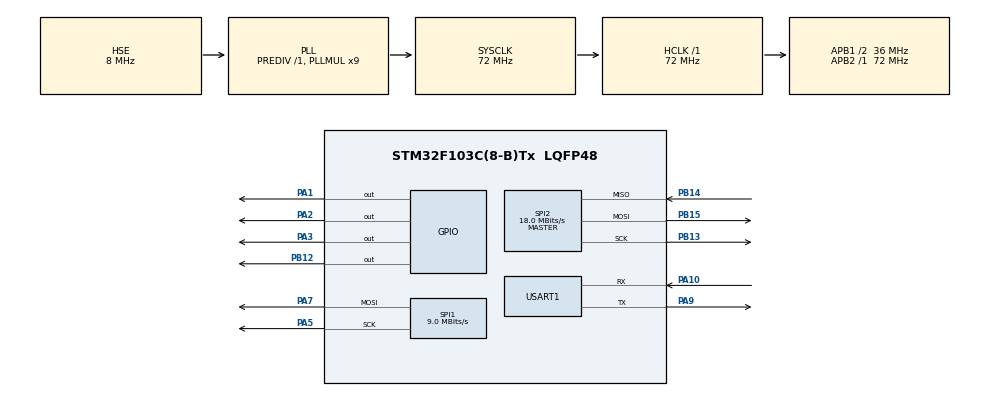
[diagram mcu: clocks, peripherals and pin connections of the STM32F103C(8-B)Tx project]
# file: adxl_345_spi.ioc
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Dma.Request0=SPI1_TX
Dma.Request1=SPI2_RX
Dma.Request2=SPI2_TX
Dma.SPI1_TX.0.Direction=DMA_MEMORY_TO_PERIPH
Dma.SPI1_TX.0.Instance=DMA1_Channel3
Dma.SPI1_TX.0.MemDataAlignment=DMA_MDATAALIGN_BYTE
Dma.SPI1_TX.0.MemInc=DMA_MINC_ENABLE
Dma.SPI1_TX.0.Mode=DMA_NORMAL
Dma.SPI1_TX.0.PeriphDataAlignment=DMA_PDATAALIGN_BYTE
Dma.SPI1_TX.0.PeriphInc=DMA_PINC_DISABLE
Dma.SPI1_TX.0.Priority=DMA_PRIORITY_LOW
Dma.SPI2_RX.1.Direction=DMA_PERIPH_TO_MEMORY
Dma.SPI2_RX.1.Instance=DMA1_Channel4
Dma.SPI2_RX.1.MemDataAlignment=DMA_MDATAALIGN_BYTE
Dma.SPI2_RX.1.MemInc=DMA_MINC_ENABLE
Dma.SPI2_RX.1.Mode=DMA_NORMAL
Dma.SPI2_RX.1.PeriphDataAlignment=DMA_PDATAALIGN_BYTE
Dma.SPI2_RX.1.PeriphInc=DMA_PINC_DISABLE
Dma.SPI2_RX.1.Priority=DMA_PRIORITY_LOW
Dma.SPI2_TX.2.Direction=DMA_MEMORY_TO_PERIPH
Dma.SPI2_TX.2.Instance=DMA1_Channel5
Dma.SPI2_TX.2.MemDataAlignment=DMA_MDATAALIGN_BYTE
Dma.SPI2_TX.2.MemInc=DMA_MINC_ENABLE
Dma.SPI2_TX.2.Mode=DMA_NORMAL
Dma.SPI2_TX.2.PeriphDataAlignment=DMA_PDATAALIGN_BYTE
Dma.SPI2_TX.2.PeriphInc=DMA_PINC_DISABLE
Dma.SPI2_TX.2.Priority=DMA_PRIORITY_LOW
Mcu.Family=STM32F1
Mcu.Name=STM32F103C(8-B)Tx
Mcu.Package=LQFP48
NVIC.DMA1_Channel3_IRQn=true\:0\:0\:false\:false\:true\:false\:true\:true
NVIC.DMA1_Channel4_IRQn=true\:0\:0\:false\:false\:true\:false\:true\:true
NVIC.DMA1_Channel5_IRQn=true\:0\:0\:false\:false\:true\:false\:true\:true
NVIC.PriorityGroup=NVIC_PRIORITYGROUP_4
NVIC.SPI1_IRQn=true\:0\:0\:false\:false\:true\:true\:true\:true
NVIC.SPI2_IRQn=true\:0\:0\:false\:false\:true\:true\:true\:true
NVIC.USART1_IRQn=true\:0\:0\:false\:false\:true\:true\:true\:true
PA1.Signal=GPIO_Output
PA10.Mode=Asynchronous
PA10.Signal=USART1_RX
PA13.Mode=Serial_Wire
PA13.Signal=SYS_JTMS-SWDIO
PA14.Mode=Serial_Wire
PA14.Signal=SYS_JTCK-SWCLK
PA2.Signal=GPIO_Output
PA3.Signal=GPIO_Output
PA5.Mode=TX_Only_Simplex_Unidirect_Master
PA5.Signal=SPI1_SCK
PA7.Mode=TX_Only_Simplex_Unidirect_Master
PA7.Signal=SPI1_MOSI
PA9.Mode=Asynchronous
PA9.Signal=USART1_TX
PB12.Signal=GPIO_Output
PB13.Mode=Full_Duplex_Master
PB13.Signal=SPI2_SCK
PB14.Mode=Full_Duplex_Master
PB14.Signal=SPI2_MISO
PB15.Mode=Full_Duplex_Master
PB15.Signal=SPI2_MOSI
PD0-OSC_IN.Mode=HSE-External-Oscillator
PD0-OSC_IN.Signal=RCC_OSC_IN
PD1-OSC_OUT.Mode=HSE-External-Oscillator
PD1-OSC_OUT.Signal=RCC_OSC_OUT
ProjectManager.HeapSize=0x300
ProjectManager.StackSize=0x200
ProjectManager.TargetToolchain=STM32CubeIDE
RCC.AHBFreq_Value=72000000
RCC.APB1CLKDivider=RCC_HCLK_DIV2
RCC.APB1Freq_Value=36000000
RCC.APB1TimFreq_Value=72000000
RCC.APB2Freq_Value=72000000
RCC.APB2TimFreq_Value=72000000
RCC.HCLKFreq_Value=72000000
RCC.PLLMUL=RCC_PLL_MUL9
RCC.PLLSourceVirtual=RCC_PLLSOURCE_HSE
RCC.SYSCLKFreq_VALUE=72000000
RCC.SYSCLKSource=RCC_SYSCLKSOURCE_PLLCLK
RCC.USBFreq_Value=72000000
SPI1.BaudRatePrescaler=SPI_BAUDRATEPRESCALER_8
SPI1.CLKPhase=SPI_PHASE_2EDGE
SPI1.CLKPolarity=SPI_POLARITY_HIGH
SPI1.CalculateBaudRate=9.0 MBits/s
SPI1.Direction=SPI_DIRECTION_2LINES
SPI1.Mode=SPI_MODE_MASTER
SPI1.VirtualType=VM_MASTER
SPI2.CLKPhase=SPI_PHASE_2EDGE
SPI2.CLKPolarity=SPI_POLARITY_HIGH
SPI2.CalculateBaudRate=18.0 MBits/s
SPI2.Direction=SPI_DIRECTION_2LINES
SPI2.Mode=SPI_MODE_MASTER
SPI2.VirtualType=VM_MASTER
USART1.VirtualMode=VM_ASYNC
board=custom

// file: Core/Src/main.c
/* USER CODE BEGIN Header */
/**
 *  пример на HAL/C, который:

    инициализирует ADXL345 в full-resolution ±16g (как у тебя),

    настраивает SPI2 и CS (PB12),

    читает сырой int16_t по трем осям,

    переводит в g и в м/с²,

    отслеживает и держит максимальные пики,

    содержит простую логику детекции удара (порог + защита по времени).
 *
 *
 * Пояснения и практические советы

    Преобразование в g и m/s²

        В full-res используем g = raw * 0.0039.

        m/s² = g * 9.80665.
        Это приближённое значение, но для ударов/пиков достаточно точно.

    Выбор порога IMPACT_THRESHOLD_G

        6g — просто пример. Подбери эмпирически: сначала понаблюдай обычное движение (ходьба/стряхивание) и
        поставь порог выше шума, но ниже реального удара.

        Можно сделать адаптивный порог: усреднять фон и считать отклонение.

    Защита от ложных срабатываний

        Я добавил IMPACT_DEBOUNCE_MS — после удара игнорируем новые в течение N миллисекунд.

        Альтернатива — требовать, чтобы значение превысило порог N последовательных выборок.

    Tap/Activity детекция аппаратно

        ADXL345 умеет аппаратно детектировать single/double tap и activity/inactivity, и выдавать прерывание на INT1/INT2. Это точнее и не нагружает CPU. Если нужно — дам пример настройки регистров THRESH_TAP, DUR, INT_ENABLE и обработку внешнего прерывания.

    Частота выборки (BW_RATE)

        Для ударов полезно повысить частоту (чем выше — тем короче импульс можно захватить). Но это увеличивает поток данных. ADXL345 может давать высокие частоты (см. даташит). Подбери значение, совместимое с твоим SAMPLE_PERIOD_MS.

    Проверка направлений и смещения

        Прибор может иметь смещение (offset). Для точных измерений сделай нулевую калибровку: при неподвижной установке вычисли среднее по нескольким секундам и вычти из измерений.
 *
  ******************************************************************************
  * @file           : main.c
  * @brief          : Main program body
  ******************************************************************************
  * @attention
  *
  * Copyright (c) 2025 STMicroelectronics.
  * All rights reserved.
  *
  * This software is licensed under terms that can be found in the LICENSE file
  * in the root directory of this software component.
  * If no LICENSE file comes with this software, it is provided AS-IS.
  *
  ******************************************************************************
  */
/* USER CODE END Header */
#include "main.h"

/* USER CODE BEGIN Includes */
#include <stdint.h>
#include <stdio.h>
#include <stdlib.h>
#include <math.h>
#include <string.h>
#include <stdbool.h>

#include "st7789.h"
#include "fonts.h"
/* USER CODE END Includes */

SPI_HandleTypeDef hspi1;
SPI_HandleTypeDef hspi2;
DMA_HandleTypeDef hdma_spi1_tx;
DMA_HandleTypeDef hdma_spi2_rx;
DMA_HandleTypeDef hdma_spi2_tx;

UART_HandleTypeDef huart1;

/* USER CODE BEGIN PV */
#define CS_Pin GPIO_PIN_12
#define CS_Port GPIOB
/* USER CODE END PV */

void SystemClock_Config(void);
static void MX_GPIO_Init(void);
static void MX_DMA_Init(void);
static void MX_SPI1_Init(void);
static void MX_SPI2_Init(void);
static void MX_USART1_UART_Init(void);

/* USER CODE BEGIN 0 */
// Функции работы с CS
void ADXL345_CS_Select()   { HAL_GPIO_WritePin(CS_Port, CS_Pin, GPIO_PIN_RESET); }
void ADXL345_CS_Deselect() { HAL_GPIO_WritePin(CS_Port, CS_Pin, GPIO_PIN_SET); }

// Функции SPI записи/чтения
void ADXL345_WriteReg(uint8_t reg, uint8_t data) {
    uint8_t buf[2] = {reg & 0x3F, data};  // MSB=0 для записи
    ADXL345_CS_Select();
    HAL_SPI_Transmit(&hspi2, buf, 2, HAL_MAX_DELAY);
    ADXL345_CS_Deselect();
}

uint8_t ADXL345_ReadReg(uint8_t reg) {
    uint8_t tx = 0x80 | (reg & 0x3F); // MSB=1 для чтения
    uint8_t rx = 0;
    ADXL345_CS_Select();
    HAL_SPI_TransmitReceive(&hspi2, &tx, &rx, 1, HAL_MAX_DELAY);
    ADXL345_CS_Deselect();
    return rx;
}

void ADXL345_ReadAxes(int16_t* x, int16_t* y, int16_t* z) {
    uint8_t tx[7];
    uint8_t rx[7];
    tx[0] = 0x80 | 0x40 | 0x32; // чтение многобайтно с DATAX0
    for(int i=1; i<7; i++) tx[i]=0x00;

    ADXL345_CS_Select();
    HAL_SPI_TransmitReceive(&hspi2, tx, rx, 7, HAL_MAX_DELAY);
    ADXL345_CS_Deselect();

    *x = (int16_t)((rx[2]<<8)|rx[1]);
    *y = (int16_t)((rx[4]<<8)|rx[3]);
    *z = (int16_t)((rx[6]<<8)|rx[5]);
}

// Инициализация ADXL345
/* Инициализация ADXL345 */
/* Примечание: здесь устанавливаем full resolution и диапазон ±16g (DATA_FORMAT = 0x0B),
   включаем измерения POWER_CTL = 0x08.
   При желании можно настроить частоту в регистре BW_RATE (0x2C) */
void ADXL345_Init(void) {
    HAL_Delay(10);
    ADXL345_WriteReg(0x2D, 0x00); // сброс POWER_CTL чтобы быть уверенным
    HAL_Delay(5);
    ADXL345_WriteReg(0x31, 0x0B); // DATA_FORMAT: FULL_RES=1, range=11 (±16g)
    HAL_Delay(2);
    // опционально: установить скорость выборки (BW_RATE). По умолчанию 100 Hz.
    ADXL345_WriteReg(0x2C, 0x0A); // пример: установить 100 Hz (см. datasheet для нужного значения)
    ADXL345_WriteReg(0x2D, 0x08); // POWER_CTL: Measure = 1
    HAL_Delay(5);
}

/* Константы преобразования:
   В full-resolution ADXL345 масштаб ~3.9 mg/LSB (часто приводят 0.0039 g/LSB).
   Используем коэффициент 0.0039 (g per LSB). */
#define ADXL_SCALE_G 0.0039f
#define G_TO_MS2 9.80665f

/* Параметры детектора удара */
#define IMPACT_THRESHOLD_G 6.0f     // порог в g (пример: 6g — подбери экспериментально)
#define IMPACT_DEBOUNCE_MS 200      // окно, в течение которого игнорируем новые пики (ms)
#define SAMPLE_PERIOD_MS 10          // период опроса в ms (зависит от BW_RATE)

//Получение ID устройства, должно вывести 0xE5 (проверка устройства)
uint8_t ADXL345_ReadID() {
    uint8_t tx[2] = {0x80 | 0x00, 0x00}; // запрос регистра 0x00
    uint8_t rx[2] = {0};
    ADXL345_CS_Select();
    HAL_SPI_TransmitReceive(&hspi2, tx, rx, 2, HAL_MAX_DELAY);
    ADXL345_CS_Deselect();
    return rx[1]; // второй байт = ответ
}

/* Простая структура для хранения максимумов */
typedef struct {
    float max_g_x;
    float max_g_y;
    float max_g_z;
    uint32_t last_impact_tick; // HAL_GetTick() временная метка
} PeakData;

PeakData peaks = {0};

void process_sample_and_detect(int16_t rx, int16_t ry, int16_t rz) {
	char message[255];
	char message_display[128];
	// Преобразование raw -> g -> m/s^2
    float gx = (float)rx * ADXL_SCALE_G;
    float gy = (float)ry * ADXL_SCALE_G;
    float gz = (float)rz * ADXL_SCALE_G;
    float abs_gx = fabsf(gx), abs_gy = fabsf(gy), abs_gz = fabsf(gz);
    float abs_g = sqrt(gx*gx + gy*gy + gz*gz);
    float a_ms2 = abs_g * G_TO_MS2;

    // Обновляем пики по осям (в g)
    if (abs_gx > peaks.max_g_x) peaks.max_g_x = abs_gx;
    if (abs_gy > peaks.max_g_y) peaks.max_g_y = abs_gy;
    if (abs_gz > peaks.max_g_z) peaks.max_g_z = abs_gz;

    // Простая детекция удара: если любая ось превысила порог и прошло достаточно времени —
    // регистрируем событие.
    uint32_t now = HAL_GetTick();
    if ((abs_g >= IMPACT_THRESHOLD_G) && (now - peaks.last_impact_tick > IMPACT_DEBOUNCE_MS)) {
        peaks.last_impact_tick = now;
        // Реагируем на удар: печатаем, ставим светодиод, сохраняем в память и т.д.

        sprintf(message, "! IMPACT detected at tick %lu: g=%.2fg m/s2=%.2fg\n",
               (unsigned long)now, abs_g, a_ms2);
        sprintf(message_display, "%.2f g", abs_g);
        ST7789_WriteString(20, 80, message_display, Font_16x26, GRED, BLACK);
        sprintf(message_display, "%.2fg m/s2", a_ms2);
		ST7789_WriteString(20, 120, message_display, Font_16x26, GREEN, BLACK);
        HAL_UART_Transmit(&huart1, message, strlen(message), HAL_MAX_DELAY);
    }

    // Вывод текущих величин и максимумов (пример)
//    float ax_ms2 = gx * G_TO_MS2;
//    float ay_ms2 = gy * G_TO_MS2;
//    float az_ms2 = gz * G_TO_MS2;
//    sprintf(message, "g: X=%.2f Y=%.2f Z=%.2f | m/s2: X=%.2f Y=%.2f Z=%.2f | peaks g(X/Y/Z)=%.2f/%.2f/%.2f\r\n",
//           gx, gy, gz, ax_ms2, ay_ms2, az_ms2, peaks.max_g_x, peaks.max_g_y, peaks.max_g_z);
//    HAL_UART_Transmit(&huart1, message, strlen(message), HAL_MAX_DELAY);
}
/* USER CODE END 0 */

int main(void)
{

  /* USER CODE BEGIN 1 */
  char message[255];
  /* USER CODE END 1 */

  /* MCU Configuration--------------------------------------------------------*/

  /* Reset of all peripherals, Initializes the Flash interface and the Systick. */
  HAL_Init();

  /* Configure the system clock */
  SystemClock_Config();

  /* Initialize all configured peripherals */
  MX_GPIO_Init();
  MX_DMA_Init();
  MX_SPI1_Init();
  MX_SPI2_Init();
  MX_USART1_UART_Init();
  /* USER CODE BEGIN 2 */
  ADXL345_Init();
  //init display
  ST7789_Init();
  HAL_GPIO_WritePin(GPIOA, GPIO_PIN_3, GPIO_PIN_SET);
  ST7789_Fill_Color(BLACK);

  // Быстрый тест: прочитать ID
  uint8_t id = ADXL345_ReadID();
  sprintf(message, "ADXL345 ID = 0x%02X", id);
  HAL_UART_Transmit(&huart1, message, strlen(message), HAL_MAX_DELAY);
  ST7789_WriteString(20, 20, message, Font_11x18, GBLUE, BLACK);
  /* USER CODE END 2 */

  /* Infinite loop */
  /* USER CODE BEGIN WHILE */

  int16_t rx, ry, rz;
  while (1)
  {
	  ADXL345_ReadAxes(&rx, &ry, &rz);
	  process_sample_and_detect(rx, ry, rz);
	  HAL_Delay(SAMPLE_PERIOD_MS);

    /* USER CODE END WHILE */

  }
}

void SystemClock_Config(void)
{
  RCC_OscInitTypeDef RCC_OscInitStruct = {0};
  RCC_ClkInitTypeDef RCC_ClkInitStruct = {0};

  /** Initializes the RCC Oscillators according to the specified parameters
  * in the RCC_OscInitTypeDef structure.
  */
  RCC_OscInitStruct.OscillatorType = RCC_OSCILLATORTYPE_HSE;
  RCC_OscInitStruct.HSEState = RCC_HSE_ON;
  RCC_OscInitStruct.HSEPredivValue = RCC_HSE_PREDIV_DIV1;
  RCC_OscInitStruct.HSIState = RCC_HSI_ON;
  RCC_OscInitStruct.PLL.PLLState = RCC_PLL_ON;
  RCC_OscInitStruct.PLL.PLLSource = RCC_PLLSOURCE_HSE;
  RCC_OscInitStruct.PLL.PLLMUL = RCC_PLL_MUL9;
  if (HAL_RCC_OscConfig(&RCC_OscInitStruct) != HAL_OK)
  {
    Error_Handler();
  }

  /** Initializes the CPU, AHB and APB buses clocks
  */
  RCC_ClkInitStruct.ClockType = RCC_CLOCKTYPE_HCLK|RCC_CLOCKTYPE_SYSCLK
                              |RCC_CLOCKTYPE_PCLK1|RCC_CLOCKTYPE_PCLK2;
  RCC_ClkInitStruct.SYSCLKSource = RCC_SYSCLKSOURCE_PLLCLK;
  RCC_ClkInitStruct.AHBCLKDivider = RCC_SYSCLK_DIV1;
  RCC_ClkInitStruct.APB1CLKDivider = RCC_HCLK_DIV2;
  RCC_ClkInitStruct.APB2CLKDivider = RCC_HCLK_DIV1;

  if (HAL_RCC_ClockConfig(&RCC_ClkInitStruct, FLASH_LATENCY_2) != HAL_OK)
  {
    Error_Handler();
  }
}

static void MX_SPI1_Init(void)
{

  /* SPI1 parameter configuration*/
  hspi1.Instance = SPI1;
  hspi1.Init.Mode = SPI_MODE_MASTER;
  hspi1.Init.Direction = SPI_DIRECTION_2LINES;
  hspi1.Init.DataSize = SPI_DATASIZE_8BIT;
  hspi1.Init.CLKPolarity = SPI_POLARITY_HIGH;
  hspi1.Init.CLKPhase = SPI_PHASE_2EDGE;
  hspi1.Init.NSS = SPI_NSS_SOFT;
  hspi1.Init.BaudRatePrescaler = SPI_BAUDRATEPRESCALER_8;
  hspi1.Init.FirstBit = SPI_FIRSTBIT_MSB;
  hspi1.Init.TIMode = SPI_TIMODE_DISABLE;
  hspi1.Init.CRCCalculation = SPI_CRCCALCULATION_DISABLE;
  hspi1.Init.CRCPolynomial = 10;
  if (HAL_SPI_Init(&hspi1) != HAL_OK)
  {
    Error_Handler();
  }

}

static void MX_SPI2_Init(void)
{

  /* SPI2 parameter configuration*/
  hspi2.Instance = SPI2;
  hspi2.Init.Mode = SPI_MODE_MASTER;
  hspi2.Init.Direction = SPI_DIRECTION_2LINES;
  hspi2.Init.DataSize = SPI_DATASIZE_8BIT;
  hspi2.Init.CLKPolarity = SPI_POLARITY_HIGH;
  hspi2.Init.CLKPhase = SPI_PHASE_2EDGE;
  hspi2.Init.NSS = SPI_NSS_SOFT;
  hspi2.Init.BaudRatePrescaler = SPI_BAUDRATEPRESCALER_2;
  hspi2.Init.FirstBit = SPI_FIRSTBIT_MSB;
  hspi2.Init.TIMode = SPI_TIMODE_DISABLE;
  hspi2.Init.CRCCalculation = SPI_CRCCALCULATION_DISABLE;
  hspi2.Init.CRCPolynomial = 10;
  if (HAL_SPI_Init(&hspi2) != HAL_OK)
  {
    Error_Handler();
  }

}

static void MX_USART1_UART_Init(void)
{

  huart1.Instance = USART1;
  huart1.Init.BaudRate = 115200;
  huart1.Init.WordLength = UART_WORDLENGTH_8B;
  huart1.Init.StopBits = UART_STOPBITS_1;
  huart1.Init.Parity = UART_PARITY_NONE;
  huart1.Init.Mode = UART_MODE_TX_RX;
  huart1.Init.HwFlowCtl = UART_HWCONTROL_NONE;
  huart1.Init.OverSampling = UART_OVERSAMPLING_16;
  if (HAL_UART_Init(&huart1) != HAL_OK)
  {
    Error_Handler();
  }

}

static void MX_DMA_Init(void)
{

  /* DMA controller clock enable */
  __HAL_RCC_DMA1_CLK_ENABLE();

  /* DMA interrupt init */
  /* DMA1_Channel3_IRQn interrupt configuration */
  HAL_NVIC_SetPriority(DMA1_Channel3_IRQn, 0, 0);
  HAL_NVIC_EnableIRQ(DMA1_Channel3_IRQn);
  /* DMA1_Channel4_IRQn interrupt configuration */
  HAL_NVIC_SetPriority(DMA1_Channel4_IRQn, 0, 0);
  HAL_NVIC_EnableIRQ(DMA1_Channel4_IRQn);
  /* DMA1_Channel5_IRQn interrupt configuration */
  HAL_NVIC_SetPriority(DMA1_Channel5_IRQn, 0, 0);
  HAL_NVIC_EnableIRQ(DMA1_Channel5_IRQn);

}

static void MX_GPIO_Init(void)
{
  GPIO_InitTypeDef GPIO_InitStruct = {0};

  /* GPIO Ports Clock Enable */
  __HAL_RCC_GPIOD_CLK_ENABLE();
  __HAL_RCC_GPIOA_CLK_ENABLE();
  __HAL_RCC_GPIOB_CLK_ENABLE();

  /*Configure GPIO pin Output Level */
  HAL_GPIO_WritePin(GPIOA, GPIO_PIN_1|GPIO_PIN_2|GPIO_PIN_3, GPIO_PIN_RESET);

  /*Configure GPIO pin Output Level */
  HAL_GPIO_WritePin(GPIOB, GPIO_PIN_12, GPIO_PIN_RESET);

  /*Configure GPIO pins : PA1 PA2 PA3 */
  GPIO_InitStruct.Pin = GPIO_PIN_1|GPIO_PIN_2|GPIO_PIN_3;
  GPIO_InitStruct.Mode = GPIO_MODE_OUTPUT_PP;
  GPIO_InitStruct.Pull = GPIO_NOPULL;
  GPIO_InitStruct.Speed = GPIO_SPEED_FREQ_LOW;
  HAL_GPIO_Init(GPIOA, &GPIO_InitStruct);

  /*Configure GPIO pin : PB12 */
  GPIO_InitStruct.Pin = GPIO_PIN_12;
  GPIO_InitStruct.Mode = GPIO_MODE_OUTPUT_PP;
  GPIO_InitStruct.Pull = GPIO_NOPULL;
  GPIO_InitStruct.Speed = GPIO_SPEED_FREQ_LOW;
  HAL_GPIO_Init(GPIOB, &GPIO_InitStruct);

}

void Error_Handler(void)
{
  __disable_irq();
  while (1)
  {
  }
}
